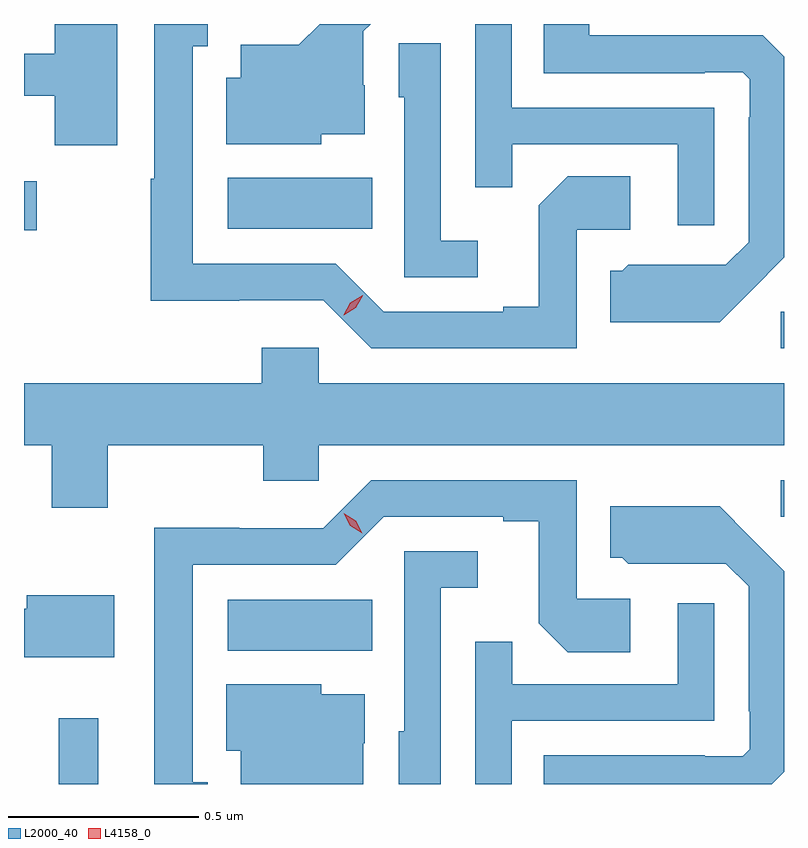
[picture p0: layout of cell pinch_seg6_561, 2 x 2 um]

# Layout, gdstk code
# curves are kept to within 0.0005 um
import gdstk
lib = gdstk.Library(unit=1e-6, precision=1e-09)
def R(c, l, rs):  # rectangles x0, y0, x1, y1
    for r in rs: c.add(gdstk.rectangle(r[:2], r[2:], *l))
def P(c, l, *ps):  # polygons
    for p in ps: c.add(gdstk.Polygon(p, *l))
L2000_40 = (2000, 40)
L4158_0 = (4158, 0)

pinch_seg6_561 = lib.new_cell('pinch_seg6_561')
R(pinch_seg6_561, L2000_40, [(797.381,917.141,797.485,917.314), (797.826,917.492,798.206,917.626), (799.281,917.844,799.29,917.94), (799.281,918.288,799.29,918.384), (797.29,918.598,797.323,918.727), (797.826,918.602,798.206,918.736)])
P(pinch_seg6_561, L2000_40, [(797.536,919.141),(797.371,919.141),(797.371,919.063),(797.29,919.063),(797.29,918.952),(797.371,918.952),(797.371,918.822),(797.536,918.822)],
  [(799.201,918.437),(799.29,918.527),(799.29,919.055),(799.234,919.111),(799.133,919.111),(799.133,919.112),(798.777,919.112),(798.777,919.141),(798.658,919.141),(798.658,919.011),(799.082,919.011),(799.082,919.014),(799.182,919.014),(799.2,918.996),(799.2,918.896),(799.197,918.896),(799.197,918.567),(799.137,918.507),(799.014,918.507),(799.014,918.508),(798.88,918.508),(798.864,918.492),(798.833,918.492),(798.833,918.356),(799.121,918.356)],
  [(798.072,918.851),(798.187,918.851),(798.187,918.98),(798.183,918.98),(798.183,919.122),(798.202,919.141),(798.068,919.141),(798.013,919.087),(797.861,919.087),(797.861,919),(797.822,919),(797.822,918.824),(798.072,918.824)],
  [(799.107,918.921),(798.573,918.921),(798.573,919.141),(798.477,919.141),(798.477,918.712),(798.575,918.712),(798.575,918.825),(799.011,918.825),(799.011,918.612),(799.107,918.612)],
  [(798.744,918.6),(798.886,918.6),(798.886,918.74),(798.721,918.74),(798.645,918.664),(798.645,918.397),(798.551,918.397),(798.551,918.384),(798.237,918.384),(798.111,918.51),(797.734,918.51),(797.734,919.083),(797.773,919.083),(797.773,919.141),(797.633,919.141),(797.633,918.734),(797.623,918.734),(797.623,918.413),(797.856,918.413),(797.856,918.414),(798.078,918.414),(798.204,918.288),(798.744,918.288)],
  [(798.484,918.571),(798.387,918.571),(798.387,919.091),(798.276,919.091),(798.276,918.948),(798.291,918.948),(798.291,918.474),(798.484,918.474)],
  [(797.511,918.032),(797.92,918.032),(797.92,917.939),(798.066,917.939),(798.066,918.032),(799.29,918.032),(799.29,918.196),(798.066,918.196),(798.066,918.289),(797.915,918.289),(797.915,918.196),(797.29,918.196),(797.29,918.032),(797.363,918.032),(797.363,917.868),(797.511,917.868)],
  [(797.773,917.145),(797.734,917.145),(797.734,917.718),(798.111,917.718),(798.237,917.844),(798.551,917.844),(798.551,917.832),(798.645,917.832),(798.645,917.564),(798.721,917.488),(798.886,917.488),(798.886,917.628),(798.744,917.628),(798.744,917.94),(798.204,917.94),(798.078,917.814),(797.856,917.814),(797.856,917.816),(797.633,917.816),(797.633,917.141),(797.773,917.141)],
  [(799.29,917.173),(799.29,917.701),(799.121,917.872),(798.833,917.872),(798.833,917.736),(798.864,917.736),(798.88,917.72),(799.014,917.72),(799.014,917.721),(799.137,917.721),(799.197,917.661),(799.197,917.332),(799.2,917.332),(799.2,917.232),(799.182,917.214),(799.082,917.214),(799.082,917.217),(798.658,917.217),(798.658,917.141),(799.258,917.141)],
  [(798.387,917.657),(798.484,917.657),(798.484,917.754),(798.291,917.754),(798.291,917.28),(798.276,917.28),(798.276,917.141),(798.387,917.141)],
  [(797.527,917.638),(797.297,917.638),(797.297,917.602),(797.29,917.602),(797.29,917.474),(797.527,917.474)],
  [(798.573,917.307),(799.107,917.307),(799.107,917.617),(799.011,917.617),(799.011,917.403),(798.575,917.403),(798.575,917.516),(798.477,917.516),(798.477,917.141),(798.573,917.141)],
  [(798.183,917.248),(798.187,917.248),(798.187,917.377),(798.072,917.377),(798.072,917.404),(797.822,917.404),(797.822,917.228),(797.861,917.228),(797.861,917.141),(798.183,917.141)])
P(pinch_seg6_561, L4158_0, [(798.131,918.375),(798.131,918.376),(798.149,918.408),(798.181,918.427),(798.181,918.427),(798.181,918.426),(798.163,918.394),(798.131,918.375)],
  [(798.18,917.801),(798.149,917.82),(798.132,917.853),(798.132,917.853),(798.132,917.853),(798.163,917.834),(798.18,917.801),(798.18,917.801)])

lib.write_gds('pinch_seg6_561.gds')
